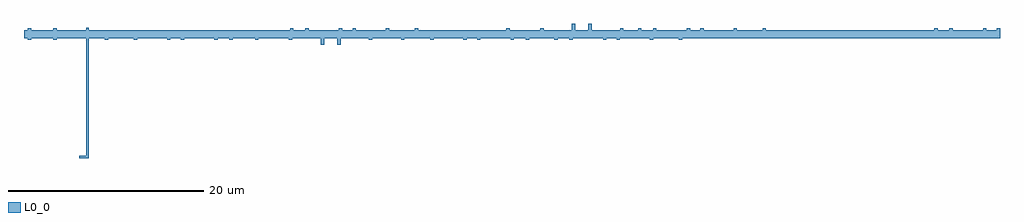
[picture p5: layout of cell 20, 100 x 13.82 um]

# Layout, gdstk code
import gdstk
lib = gdstk.Library(unit=1e-6, precision=1e-09)
def P(c, l, *ps):  # polygons
    for p in ps: c.add(gdstk.Polygon(p, *l))
L0_0 = (0, 0)

c_20 = lib.new_cell('20')
P(c_20, L0_0, [(968.22,976.48),(989.34,976.48),(989.34,975.68),(968.22,975.68),(968.22,976.48)],
  [(991.32,976.48),(991.32,975.68),(990,975.68),(990,976.48),(991.32,976.48)],
  [(953.04,976.48),(953.04,975.68),(951.75,975.68),(951.75,975.505),(951.41,975.505),(951.41,975.68),(950.195,975.68),(950.195,975.505),(949.855,975.505),(949.855,975.68),(946.755,975.68),(946.755,975.505),(946.415,975.505),(946.415,975.68),(945.355,975.68),(945.355,975.505),(945.015,975.505),(945.015,975.68),(941.96,975.68),(941.96,975.505),(941.62,975.505),(941.62,975.68),(938.98,975.68),(938.98,975.505),(938.64,975.505),(938.64,975.68),(937.86,975.68),(937.86,976.48),(953.04,976.48)],
  [(900,976.48),(903.54,976.48),(903.54,975.68),(903.36,975.68),(903.36,975.505),(903.02,975.505),(903.02,975.68),(900.72,975.68),(900.72,975.505),(900.38,975.505),(900.38,975.68),(900,975.68),(900,976.48)],
  [(947.76,976.48),(947.76,975.68),(946.44,975.68),(946.44,976.48),(947.76,976.48)],
  [(925.98,976.48),(925.98,975.68),(924.66,975.68),(924.66,976.48),(925.98,976.48)],
  [(900,976.48),(1000,976.48),(1000,975.68),(900,975.68),(900,976.48)],
  [(937.2,976.48),(937.86,976.48),(937.86,975.68),(937.2,975.68),(937.2,976.48)],
  [(946.44,976.48),(946.44,975.68),(941.16,975.68),(941.16,976.48),(946.44,976.48)],
  [(1000,975.68),(991.98,975.68),(991.98,976.48),(993.27,976.48),(993.27,976.655),(993.61,976.655),(993.61,976.48),(994.825,976.48),(994.825,976.655),(995.165,976.655),(995.165,976.48),(998.265,976.48),(998.265,976.655),(998.605,976.655),(998.605,976.48),(999.665,976.48),(999.665,976.655),(1000,976.655),(1000,975.68)],
  [(935.88,976.48),(937.2,976.48),(937.2,975.68),(935.88,975.68),(935.88,976.48)],
  [(906.18,976.48),(907.5,976.48),(907.5,975.68),(906.18,975.68),(906.18,976.48)],
  [(961.62,975.68),(961.62,976.48),(962.91,976.48),(962.91,976.655),(963.25,976.655),(963.25,976.48),(964.465,976.48),(964.465,976.655),(964.805,976.655),(964.805,976.48),(967.905,976.48),(967.905,976.655),(968.245,976.655),(968.245,976.48),(969.305,976.48),(969.305,976.655),(969.645,976.655),(969.645,976.48),(972.7,976.48),(972.7,976.655),(973.04,976.655),(973.04,976.48),(975.68,976.48),(975.68,976.655),(976.02,976.655),(976.02,976.48),(976.8,976.48),(976.8,975.68),(961.62,975.68)],
  [(1000,975.68),(999.9,975.68),(999.9,976.48),(1000,976.48),(1000,975.68)],
  [(900,976.48),(900.38,976.48),(900.38,976.655),(900.72,976.655),(900.72,976.48),(903.02,976.48),(903.02,976.655),(903.36,976.655),(903.36,976.48),(903.54,976.48),(903.54,975.68),(900,975.68),(900,976.48)],
  [(935.88,975.68),(935.68,975.68),(935.68,975.505),(935.34,975.505),(935.34,975.68),(932.43,975.68),(932.43,975),(932.09,975),(932.09,975.68),(930.74,975.68),(930.74,975),(930.4,975),(930.4,975.68),(927.49,975.68),(927.49,975.505),(927.15,975.505),(927.15,975.68),(924.01,975.68),(924.01,975.505),(923.67,975.505),(923.67,975.68),(922.68,975.68),(922.68,976.48),(935.88,976.48),(935.88,975.68)],
  [(990,976.48),(990,975.68),(987.36,975.68),(987.36,976.48),(990,976.48)],
  [(987.36,976.48),(987.36,975.68),(976.8,975.68),(976.8,976.48),(987.36,976.48)],
  [(948.42,975.68),(948.42,976.48),(949.41,976.48),(949.41,976.655),(949.75,976.655),(949.75,976.48),(952.89,976.48),(952.89,976.655),(953.23,976.655),(953.23,976.48),(956.14,976.48),(956.14,977.16),(956.48,977.16),(956.48,976.48),(957.83,976.48),(957.83,977.16),(958.17,977.16),(958.17,976.48),(961.08,976.48),(961.08,976.655),(961.42,976.655),(961.42,976.48),(961.62,976.48),(961.62,975.68),(948.42,975.68)],
  [(989.34,976.48),(999.9,976.48),(999.9,975.68),(989.34,975.68),(989.34,976.48)],
  [(903.54,976.48),(906.18,976.48),(906.18,975.68),(903.54,975.68),(903.54,976.48)],
  [(922.68,976.48),(922.68,975.68),(921.39,975.68),(921.39,975.505),(921.05,975.505),(921.05,975.68),(919.835,975.68),(919.835,975.505),(919.495,975.505),(919.495,975.68),(916.395,975.68),(916.395,975.505),(916.055,975.505),(916.055,975.68),(914.995,975.68),(914.995,975.505),(914.655,975.505),(914.655,975.68),(911.6,975.68),(911.6,975.505),(911.26,975.505),(911.26,975.68),(908.62,975.68),(908.62,975.505),(908.28,975.505),(908.28,975.68),(907.5,975.68),(907.5,976.48),(922.68,976.48)],
  [(991.98,976.48),(991.98,975.68),(991.32,975.68),(991.32,976.48),(991.98,976.48)],
  [(948.42,976.48),(948.42,975.68),(947.76,975.68),(947.76,976.48),(948.42,976.48)],
  [(925.98,975.68),(925.98,976.48),(927.27,976.48),(927.27,976.655),(927.61,976.655),(927.61,976.48),(928.825,976.48),(928.825,976.655),(929.165,976.655),(929.165,976.48),(932.265,976.48),(932.265,976.655),(932.605,976.655),(932.605,976.48),(933.665,976.48),(933.665,976.655),(934.005,976.655),(934.005,976.48),(937.06,976.48),(937.06,976.655),(937.4,976.655),(937.4,976.48),(940.04,976.48),(940.04,976.655),(940.38,976.655),(940.38,976.48),(941.16,976.48),(941.16,975.68),(925.98,975.68)],
  [(968.22,975.68),(967.44,975.68),(967.44,975.505),(967.1,975.505),(967.1,975.68),(964.46,975.68),(964.46,975.505),(964.12,975.505),(964.12,975.68),(961.065,975.68),(961.065,975.505),(960.725,975.505),(960.725,975.68),(959.665,975.68),(959.665,975.505),(959.325,975.505),(959.325,975.68),(956.225,975.68),(956.225,975.505),(955.885,975.505),(955.885,975.68),(954.67,975.68),(954.67,975.505),(954.33,975.505),(954.33,975.68),(953.04,975.68),(953.04,976.48),(968.22,976.48),(968.22,975.68)],
  [(924.66,976.48),(924.66,975.68),(903.54,975.68),(903.54,976.48),(924.66,976.48)],
  [(900,976.48),(900.38,976.48),(900.38,976.655),(900.72,976.655),(900.72,976.48),(903.02,976.48),(903.02,976.655),(903.36,976.655),(903.36,976.48),(903.54,976.48),(903.54,975.68),(900,975.68),(900,976.48)],
  [(903.54,976.48),(906.18,976.48),(906.18,975.68),(903.54,975.68),(903.54,976.48)],
  [(935.88,975.68),(935.68,975.68),(935.68,975.505),(935.34,975.505),(935.34,975.68),(932.43,975.68),(932.43,975),(932.09,975),(932.09,975.68),(930.74,975.68),(930.74,975),(930.4,975),(930.4,975.68),(927.49,975.68),(927.49,975.505),(927.15,975.505),(927.15,975.68),(924.01,975.68),(924.01,975.505),(923.67,975.505),(923.67,975.68),(922.68,975.68),(922.68,976.48),(935.88,976.48),(935.88,975.68)],
  [(922.68,976.48),(922.68,975.68),(921.39,975.68),(921.39,975.505),(921.05,975.505),(921.05,975.68),(919.835,975.68),(919.835,975.505),(919.495,975.505),(919.495,975.68),(916.395,975.68),(916.395,975.505),(916.055,975.505),(916.055,975.68),(914.995,975.68),(914.995,975.505),(914.655,975.505),(914.655,975.68),(911.6,975.68),(911.6,975.505),(911.26,975.505),(911.26,975.68),(908.62,975.68),(908.62,975.505),(908.28,975.505),(908.28,975.68),(907.5,975.68),(907.5,976.48),(922.68,976.48)],
  [(900,976.48),(903.54,976.48),(903.54,975.68),(903.36,975.68),(903.36,975.505),(903.02,975.505),(903.02,975.68),(900.72,975.68),(900.72,975.505),(900.38,975.505),(900.38,975.68),(900,975.68),(900,976.48)],
  [(925.98,976.48),(925.98,975.68),(924.66,975.68),(924.66,976.48),(925.98,976.48)],
  [(935.88,976.48),(937.2,976.48),(937.2,975.68),(935.88,975.68),(935.88,976.48)],
  [(925.98,975.68),(925.98,976.48),(927.27,976.48),(927.27,976.655),(927.61,976.655),(927.61,976.48),(928.825,976.48),(928.825,976.655),(929.165,976.655),(929.165,976.48),(932.265,976.48),(932.265,976.655),(932.605,976.655),(932.605,976.48),(933.665,976.48),(933.665,976.655),(934.005,976.655),(934.005,976.48),(937.06,976.48),(937.06,976.655),(937.4,976.655),(937.4,976.48),(940.04,976.48),(940.04,976.655),(940.38,976.655),(940.38,976.48),(941.16,976.48),(941.16,975.68),(925.98,975.68)],
  [(906.18,976.48),(907.5,976.48),(907.5,975.68),(906.18,975.68),(906.18,976.48)],
  [(924.66,976.48),(924.66,975.68),(903.54,975.68),(903.54,976.48),(924.66,976.48)],
  [(900,976.48),(900.38,976.48),(900.38,976.655),(900.72,976.655),(900.72,976.48),(903.02,976.48),(903.02,976.655),(903.36,976.655),(903.36,976.48),(903.54,976.48),(903.54,975.68),(900,975.68),(900,976.48)],
  [(903.54,976.48),(906.18,976.48),(906.18,975.68),(903.54,975.68),(903.54,976.48)],
  [(935.88,975.68),(935.68,975.68),(935.68,975.505),(935.34,975.505),(935.34,975.68),(932.43,975.68),(932.43,975),(932.09,975),(932.09,975.68),(930.74,975.68),(930.74,975),(930.4,975),(930.4,975.68),(927.49,975.68),(927.49,975.505),(927.15,975.505),(927.15,975.68),(924.01,975.68),(924.01,975.505),(923.67,975.505),(923.67,975.68),(922.68,975.68),(922.68,976.48),(935.88,976.48),(935.88,975.68)],
  [(922.68,976.48),(922.68,975.68),(921.39,975.68),(921.39,975.505),(921.05,975.505),(921.05,975.68),(919.835,975.68),(919.835,975.505),(919.495,975.505),(919.495,975.68),(916.395,975.68),(916.395,975.505),(916.055,975.505),(916.055,975.68),(914.995,975.68),(914.995,975.505),(914.655,975.505),(914.655,975.68),(911.6,975.68),(911.6,975.505),(911.26,975.505),(911.26,975.68),(908.62,975.68),(908.62,975.505),(908.28,975.505),(908.28,975.68),(907.5,975.68),(907.5,976.48),(922.68,976.48)],
  [(925.98,976.48),(925.98,975.68),(924.66,975.68),(924.66,976.48),(925.98,976.48)],
  [(935.88,976.48),(937.2,976.48),(937.2,975.68),(935.88,975.68),(935.88,976.48)],
  [(925.98,975.68),(925.98,976.48),(927.27,976.48),(927.27,976.655),(927.61,976.655),(927.61,976.48),(928.825,976.48),(928.825,976.655),(929.165,976.655),(929.165,976.48),(932.265,976.48),(932.265,976.655),(932.605,976.655),(932.605,976.48),(933.665,976.48),(933.665,976.655),(934.005,976.655),(934.005,976.48),(937.06,976.48),(937.06,976.655),(937.4,976.655),(937.4,976.48),(940.04,976.48),(940.04,976.655),(940.38,976.655),(940.38,976.48),(941.16,976.48),(941.16,975.68),(925.98,975.68)],
  [(906.18,976.48),(907.5,976.48),(907.5,975.68),(906.18,975.68),(906.18,976.48)],
  [(924.66,976.48),(924.66,975.68),(903.54,975.68),(903.54,976.48),(924.66,976.48)],
  [(946.44,976.48),(946.44,975.68),(941.16,975.68),(941.16,976.48),(946.44,976.48)],
  [(903.54,976.48),(906.18,976.48),(906.18,975.68),(903.54,975.68),(903.54,976.48)],
  [(935.88,975.68),(935.68,975.68),(935.68,975.505),(935.34,975.505),(935.34,975.68),(932.43,975.68),(932.43,975),(932.09,975),(932.09,975.68),(930.74,975.68),(930.74,975),(930.4,975),(930.4,975.68),(927.49,975.68),(927.49,975.505),(927.15,975.505),(927.15,975.68),(924.01,975.68),(924.01,975.505),(923.67,975.505),(923.67,975.68),(922.68,975.68),(922.68,976.48),(935.88,976.48),(935.88,975.68)],
  [(922.68,976.48),(922.68,975.68),(921.39,975.68),(921.39,975.505),(921.05,975.505),(921.05,975.68),(919.835,975.68),(919.835,975.505),(919.495,975.505),(919.495,975.68),(916.395,975.68),(916.395,975.505),(916.055,975.505),(916.055,975.68),(914.995,975.68),(914.995,975.505),(914.655,975.505),(914.655,975.68),(911.6,975.68),(911.6,975.505),(911.26,975.505),(911.26,975.68),(908.62,975.68),(908.62,975.505),(908.28,975.505),(908.28,975.68),(907.5,975.68),(907.5,976.48),(922.68,976.48)],
  [(953.04,976.48),(953.04,975.68),(951.75,975.68),(951.75,975.505),(951.41,975.505),(951.41,975.68),(950.195,975.68),(950.195,975.505),(949.855,975.505),(949.855,975.68),(946.755,975.68),(946.755,975.505),(946.415,975.505),(946.415,975.68),(945.355,975.68),(945.355,975.505),(945.015,975.505),(945.015,975.68),(941.96,975.68),(941.96,975.505),(941.62,975.505),(941.62,975.68),(938.98,975.68),(938.98,975.505),(938.64,975.505),(938.64,975.68),(937.86,975.68),(937.86,976.48),(953.04,976.48)],
  [(947.76,976.48),(947.76,975.68),(946.44,975.68),(946.44,976.48),(947.76,976.48)],
  [(925.98,976.48),(925.98,975.68),(924.66,975.68),(924.66,976.48),(925.98,976.48)],
  [(948.42,976.48),(948.42,975.68),(947.76,975.68),(947.76,976.48),(948.42,976.48)],
  [(935.88,976.48),(937.2,976.48),(937.2,975.68),(935.88,975.68),(935.88,976.48)],
  [(925.98,975.68),(925.98,976.48),(927.27,976.48),(927.27,976.655),(927.61,976.655),(927.61,976.48),(928.825,976.48),(928.825,976.655),(929.165,976.655),(929.165,976.48),(932.265,976.48),(932.265,976.655),(932.605,976.655),(932.605,976.48),(933.665,976.48),(933.665,976.655),(934.005,976.655),(934.005,976.48),(937.06,976.48),(937.06,976.655),(937.4,976.655),(937.4,976.48),(940.04,976.48),(940.04,976.655),(940.38,976.655),(940.38,976.48),(941.16,976.48),(941.16,975.68),(925.98,975.68)],
  [(906.18,976.48),(907.5,976.48),(907.5,975.68),(906.18,975.68),(906.18,976.48)],
  [(937.2,976.48),(937.86,976.48),(937.86,975.68),(937.2,975.68),(937.2,976.48)],
  [(948.42,975.68),(948.42,976.48),(949.41,976.48),(949.41,976.655),(949.75,976.655),(949.75,976.48),(952.89,976.48),(952.89,976.655),(953.23,976.655),(953.23,976.48),(956.14,976.48),(956.14,977.16),(956.48,977.16),(956.48,976.48),(957.83,976.48),(957.83,977.16),(958.17,977.16),(958.17,976.48),(961.08,976.48),(961.08,976.655),(961.42,976.655),(961.42,976.48),(961.62,976.48),(961.62,975.68),(948.42,975.68)],
  [(924.66,976.48),(924.66,975.68),(903.54,975.68),(903.54,976.48),(924.66,976.48)],
  [(946.44,976.48),(946.44,975.68),(941.16,975.68),(941.16,976.48),(946.44,976.48)],
  [(953.04,976.48),(953.04,975.68),(951.75,975.68),(951.75,975.505),(951.41,975.505),(951.41,975.68),(950.195,975.68),(950.195,975.505),(949.855,975.505),(949.855,975.68),(946.755,975.68),(946.755,975.505),(946.415,975.505),(946.415,975.68),(945.355,975.68),(945.355,975.505),(945.015,975.505),(945.015,975.68),(941.96,975.68),(941.96,975.505),(941.62,975.505),(941.62,975.68),(938.98,975.68),(938.98,975.505),(938.64,975.505),(938.64,975.68),(937.86,975.68),(937.86,976.48),(953.04,976.48)],
  [(947.76,976.48),(947.76,975.68),(946.44,975.68),(946.44,976.48),(947.76,976.48)],
  [(948.42,976.48),(948.42,975.68),(947.76,975.68),(947.76,976.48),(948.42,976.48)],
  [(925.98,976.48),(925.98,975.68),(924.66,975.68),(924.66,976.48),(925.98,976.48)],
  [(935.88,976.48),(937.2,976.48),(937.2,975.68),(935.88,975.68),(935.88,976.48)],
  [(925.98,975.68),(925.98,976.48),(927.27,976.48),(927.27,976.655),(927.61,976.655),(927.61,976.48),(928.825,976.48),(928.825,976.655),(929.165,976.655),(929.165,976.48),(932.265,976.48),(932.265,976.655),(932.605,976.655),(932.605,976.48),(933.665,976.48),(933.665,976.655),(934.005,976.655),(934.005,976.48),(937.06,976.48),(937.06,976.655),(937.4,976.655),(937.4,976.48),(940.04,976.48),(940.04,976.655),(940.38,976.655),(940.38,976.48),(941.16,976.48),(941.16,975.68),(925.98,975.68)],
  [(937.2,976.48),(937.86,976.48),(937.86,975.68),(937.2,975.68),(937.2,976.48)],
  [(924.66,976.48),(924.66,975.68),(903.54,975.68),(903.54,976.48),(924.66,976.48)],
  [(903.54,976.48),(906.18,976.48),(906.18,975.68),(903.54,975.68),(903.54,976.48)],
  [(922.68,976.48),(922.68,975.68),(921.39,975.68),(921.39,975.505),(921.05,975.505),(921.05,975.68),(919.835,975.68),(919.835,975.505),(919.495,975.505),(919.495,975.68),(916.395,975.68),(916.395,975.505),(916.055,975.505),(916.055,975.68),(914.995,975.68),(914.995,975.505),(914.655,975.505),(914.655,975.68),(911.6,975.68),(911.6,975.505),(911.26,975.505),(911.26,975.68),(908.62,975.68),(908.62,975.505),(908.28,975.505),(908.28,975.68),(907.5,975.68),(907.5,976.48),(922.68,976.48)],
  [(925.98,975.68),(925.98,976.48),(927.27,976.48),(927.27,976.655),(927.61,976.655),(927.61,976.48),(928.825,976.48),(928.825,976.655),(929.165,976.655),(929.165,976.48),(932.265,976.48),(932.265,976.655),(932.605,976.655),(932.605,976.48),(933.665,976.48),(933.665,976.655),(934.005,976.655),(934.005,976.48),(937.06,976.48),(937.06,976.655),(937.4,976.655),(937.4,976.48),(940.04,976.48),(940.04,976.655),(940.38,976.655),(940.38,976.48),(941.16,976.48),(941.16,975.68),(925.98,975.68)],
  [(906.18,976.48),(907.5,976.48),(907.5,975.68),(906.18,975.68),(906.18,976.48)],
  [(924.66,976.48),(924.66,975.68),(903.54,975.68),(903.54,976.48),(924.66,976.48)],
  [(953.04,976.48),(953.04,975.68),(951.75,975.68),(951.75,975.505),(951.41,975.505),(951.41,975.68),(950.195,975.68),(950.195,975.505),(949.855,975.505),(949.855,975.68),(946.755,975.68),(946.755,975.505),(946.415,975.505),(946.415,975.68),(945.355,975.68),(945.355,975.505),(945.015,975.505),(945.015,975.68),(941.96,975.68),(941.96,975.505),(941.62,975.505),(941.62,975.68),(938.98,975.68),(938.98,975.505),(938.64,975.505),(938.64,975.68),(937.86,975.68),(937.86,976.48),(953.04,976.48)],
  [(922.68,976.48),(922.68,975.68),(921.39,975.68),(921.39,975.505),(921.05,975.505),(921.05,975.68),(919.835,975.68),(919.835,975.505),(919.495,975.505),(919.495,975.68),(916.395,975.68),(916.395,975.505),(916.055,975.505),(916.055,975.68),(914.995,975.68),(914.995,975.505),(914.655,975.505),(914.655,975.68),(911.6,975.68),(911.6,975.505),(911.26,975.505),(911.26,975.68),(908.62,975.68),(908.62,975.505),(908.28,975.505),(908.28,975.68),(907.5,975.68),(907.5,976.48),(922.68,976.48)],
  [(925.98,976.48),(925.98,975.68),(924.66,975.68),(924.66,976.48),(925.98,976.48)],
  [(935.88,976.48),(937.2,976.48),(937.2,975.68),(935.88,975.68),(935.88,976.48)],
  [(906.18,976.48),(907.5,976.48),(907.5,975.68),(906.18,975.68),(906.18,976.48)],
  [(937.2,976.48),(937.86,976.48),(937.86,975.68),(937.2,975.68),(937.2,976.48)],
  [(924.66,976.48),(924.66,975.68),(903.54,975.68),(903.54,976.48),(924.66,976.48)],
  [(922.68,976.48),(922.68,975.68),(921.39,975.68),(921.39,975.505),(921.05,975.505),(921.05,975.68),(919.835,975.68),(919.835,975.505),(919.495,975.505),(919.495,975.68),(916.395,975.68),(916.395,975.505),(916.055,975.505),(916.055,975.68),(914.995,975.68),(914.995,975.505),(914.655,975.505),(914.655,975.68),(911.6,975.68),(911.6,975.505),(911.26,975.505),(911.26,975.68),(908.62,975.68),(908.62,975.505),(908.28,975.505),(908.28,975.68),(907.5,975.68),(907.5,976.48),(922.68,976.48)],
  [(906.18,976.48),(907.5,976.48),(907.5,975.68),(906.18,975.68),(906.18,976.48)],
  [(905.66,963.62),(906.04,963.62),(906.04,963.34),(905.66,963.34),(905.66,963.62)],
  [(906.37,976.73),(906.65,976.73),(906.65,975.99),(906.37,975.99),(906.37,976.73)],
  [(905.71,963.62),(906.65,963.62),(906.65,963.34),(905.71,963.34),(905.71,963.62)],
  [(906.37,963.34),(906.37,976.5),(906.65,976.5),(906.65,963.34),(906.37,963.34)],
  [(906.37,976.73),(906.65,976.73),(906.65,975.99),(906.37,975.99),(906.37,976.73)],
  [(906.37,963.34),(906.37,976.5),(906.65,976.5),(906.65,963.34),(906.37,963.34)],
  [(1000,976.22),(906.37,976.22),(906.37,976.5),(1000,976.5),(1000,976.22)],
  [(900,976.5),(906.65,976.5),(906.65,976.22),(900,976.22),(900,976.5)],
  [(906.32,976.5),(906.7,976.5),(906.7,976.22),(906.32,976.22),(906.32,976.5)],
  [(900,976.5),(906.65,976.5),(906.65,976.22),(900,976.22),(900,976.5)],
  [(906.32,976.5),(906.7,976.5),(906.7,976.22),(906.32,976.22),(906.32,976.5)])

lib.write_gds('20.gds')
